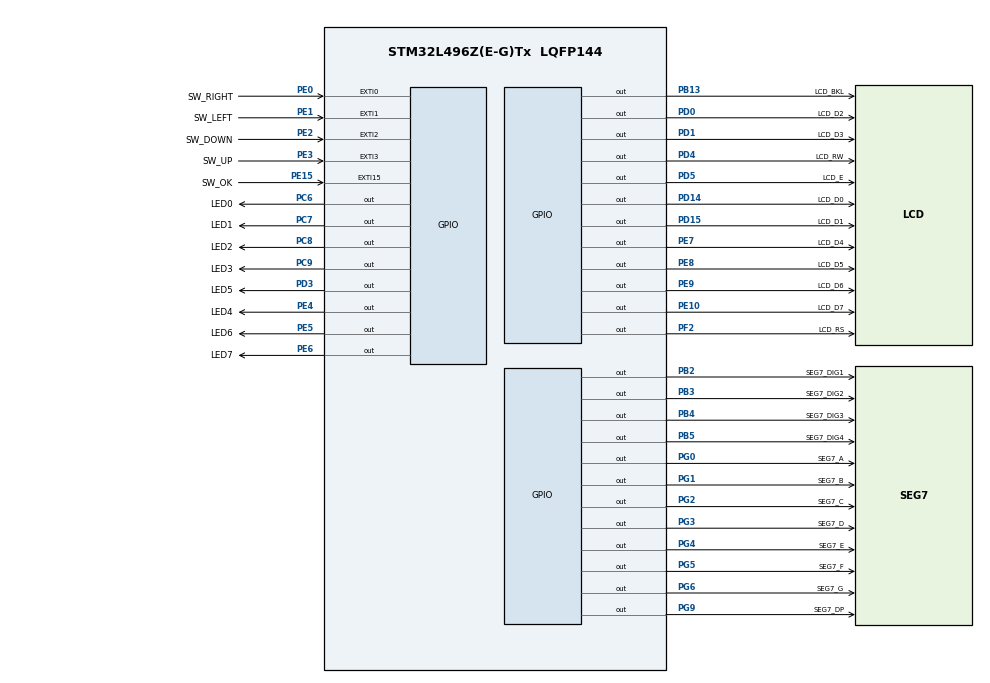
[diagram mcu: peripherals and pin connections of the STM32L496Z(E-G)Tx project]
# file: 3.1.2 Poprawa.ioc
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Mcu.Family=STM32L4
Mcu.Name=STM32L496Z(E-G)Tx
Mcu.Package=LQFP144
NVIC.EXTI0_IRQn=true\:0\:0\:false\:false\:true\:true\:true
NVIC.EXTI15_10_IRQn=true\:0\:0\:false\:false\:true\:true\:true
NVIC.EXTI1_IRQn=true\:0\:0\:false\:false\:true\:true\:true
NVIC.EXTI2_IRQn=true\:0\:0\:false\:false\:true\:true\:true
NVIC.EXTI3_IRQn=true\:0\:0\:false\:false\:true\:true\:true
NVIC.PriorityGroup=NVIC_PRIORITYGROUP_4
PA13\ (JTMS/SWDIO).Mode=Serial_Wire
PA13\ (JTMS/SWDIO).Signal=SYS_JTMS-SWDIO
PA14\ (JTCK/SWCLK).Mode=Serial_Wire
PA14\ (JTCK/SWCLK).Signal=SYS_JTCK-SWCLK
PB13.GPIO_Label=LCD_BKL
PB13.Signal=GPIO_Output
PB2.GPIO_Label=SEG7_DIG1
PB2.Signal=GPIO_Output
PB3\ (JTDO/TRACESWO).GPIO_Label=SEG7_DIG2
PB3\ (JTDO/TRACESWO).Signal=GPIO_Output
PB4\ (NJTRST).GPIO_Label=SEG7_DIG3
PB4\ (NJTRST).Signal=GPIO_Output
PB5.GPIO_Label=SEG7_DIG4
PB5.Signal=GPIO_Output
PC6.GPIO_Label=LED0
PC6.Signal=GPIO_Output
PC7.GPIO_Label=LED1
PC7.Signal=GPIO_Output
PC8.GPIO_Label=LED2
PC8.Signal=GPIO_Output
PC9.GPIO_Label=LED3
PC9.Signal=GPIO_Output
PD0.GPIO_Label=LCD_D2
PD0.Signal=GPIO_Output
PD1.GPIO_Label=LCD_D3
PD1.Signal=GPIO_Output
PD14.GPIO_Label=LCD_D0
PD14.Signal=GPIO_Output
PD15.GPIO_Label=LCD_D1
PD15.Signal=GPIO_Output
PD3.GPIO_Label=LED5
PD3.Signal=GPIO_Output
PD4.GPIO_Label=LCD_RW
PD4.Signal=GPIO_Output
PD5.GPIO_Label=LCD_E
PD5.Signal=GPIO_Output
PE0.GPIO_Label=SW_RIGHT
PE0.GPIO_ModeDefaultEXTI=GPIO_MODE_IT_FALLING
PE0.Signal=GPXTI0
PE1.GPIO_Label=SW_LEFT
PE1.GPIO_ModeDefaultEXTI=GPIO_MODE_IT_FALLING
PE1.Signal=GPXTI1
PE10.GPIO_Label=LCD_D7
PE10.Signal=GPIO_Output
PE15.GPIO_Label=SW_OK
PE15.GPIO_ModeDefaultEXTI=GPIO_MODE_IT_FALLING
PE15.Signal=GPXTI15
PE2.GPIO_Label=SW_DOWN
PE2.GPIO_ModeDefaultEXTI=GPIO_MODE_IT_FALLING
PE2.Signal=GPXTI2
PE3.GPIO_Label=SW_UP
PE3.GPIO_ModeDefaultEXTI=GPIO_MODE_IT_FALLING
PE3.Signal=GPXTI3
PE4.GPIO_Label=LED4
PE4.Signal=GPIO_Output
PE5.GPIO_Label=LED6
PE5.Signal=GPIO_Output
PE6.GPIO_Label=LED7
PE6.Signal=GPIO_Output
PE7.GPIO_Label=LCD_D4
PE7.Signal=GPIO_Output
PE8.GPIO_Label=LCD_D5
PE8.Signal=GPIO_Output
PE9.GPIO_Label=LCD_D6
PE9.Signal=GPIO_Output
PF2.GPIO_Label=LCD_RS
PF2.Signal=GPIO_Output
PG0.GPIO_Label=SEG7_A
PG0.Signal=GPIO_Output
PG1.GPIO_Label=SEG7_B
PG1.Signal=GPIO_Output
PG2.GPIO_Label=SEG7_C
PG2.Signal=GPIO_Output
PG3.GPIO_Label=SEG7_D
PG3.Signal=GPIO_Output
PG4.GPIO_Label=SEG7_E
PG4.Signal=GPIO_Output
PG5.GPIO_Label=SEG7_F
PG5.Signal=GPIO_Output
PG6.GPIO_Label=SEG7_G
PG6.Signal=GPIO_Output
PG9.GPIO_Label=SEG7_DP
PG9.Signal=GPIO_Output
ProjectManager.HeapSize=0x200
ProjectManager.StackSize=0x400
ProjectManager.TargetToolchain=STM32CubeIDE
RCC.HSE_VALUE=8000000
RCC.HSI48_VALUE=48000000
RCC.HSI_VALUE=16000000
RCC.LSE_VALUE=32768
RCC.MSI_VALUE=4000000
RCC.VCOOutputFreq_Value=32000000
board=custom

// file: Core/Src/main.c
/* USER CODE BEGIN Header */
/**
 ******************************************************************************
 * @file           : main.c
 * @brief          : Main program body
 ******************************************************************************
 * @attention
 *
 * <h2><center>&copy; Copyright (c) 2021 STMicroelectronics.
 * All rights reserved.</center></h2>
 *
 * This software component is licensed by ST under BSD 3-Clause license,
 * the "License"; You may not use this file except in compliance with the
 * License. You may obtain a copy of the License at:
 *                        opensource.org/licenses/BSD-3-Clause
 *
 ******************************************************************************
 */
/* USER CODE END Header */
#include "main.h"
#include "gpio.h"

/* USER CODE BEGIN Includes */
#include "lcd.h"
#include <stdio.h>
#include <string.h>
/* USER CODE END Includes */

/* USER CODE BEGIN PD */
#define SEG7_Msk (SEG7_A_Pin | SEG7_B_Pin | SEG7_C_Pin | SEG7_D_Pin | SEG7_E_Pin | SEG7_F_Pin | SEG7_G_Pin | SEG7_DP_Pin)
#define SEG7_MOD_Msk (SEG7_DIG4_Pin | SEG7_DIG3_Pin | SEG7_DIG2_Pin | SEG7_DIG1_Pin)

/* USER CODE END PD */

/* USER CODE BEGIN PV */
const uint8_t SEG_Bin2Dec[] = {
SEG7_A_Pin | SEG7_B_Pin | SEG7_C_Pin | SEG7_D_Pin | SEG7_E_Pin | SEG7_F_Pin, //0
		SEG7_B_Pin | SEG7_C_Pin, //1
		SEG7_A_Pin | SEG7_B_Pin | SEG7_D_Pin | SEG7_E_Pin | SEG7_G_Pin, //2
		SEG7_A_Pin | SEG7_B_Pin | SEG7_C_Pin | SEG7_D_Pin | SEG7_G_Pin, //3
		SEG7_B_Pin | SEG7_C_Pin | SEG7_F_Pin | SEG7_G_Pin, //4
		SEG7_A_Pin | SEG7_C_Pin | SEG7_D_Pin | SEG7_F_Pin | SEG7_G_Pin, //5
		SEG7_A_Pin | SEG7_C_Pin | SEG7_D_Pin | SEG7_E_Pin | SEG7_F_Pin
				| SEG7_G_Pin, //6
		SEG7_A_Pin | SEG7_B_Pin | SEG7_C_Pin, //7
		SEG7_A_Pin | SEG7_B_Pin | SEG7_C_Pin | SEG7_D_Pin | SEG7_E_Pin
				| SEG7_F_Pin | SEG7_G_Pin, //8
		SEG7_A_Pin | SEG7_B_Pin | SEG7_C_Pin | SEG7_D_Pin | SEG7_F_Pin
				| SEG7_G_Pin, //9
		SEG7_G_Pin };
const uint16_t SEG_Module[] = { SEG7_DIG4_Pin, SEG7_DIG3_Pin, SEG7_DIG2_Pin,
		SEG7_DIG1_Pin };
/* USER CODE END PV */

void SystemClock_Config(void);

/* USER CODE BEGIN 0 */
void SEG_SetSegment(uint8_t value) {
	value &= 0x0F;
	HAL_GPIO_WritePin(GPIOG, SEG7_Msk, GPIO_PIN_RESET);
	HAL_GPIO_WritePin(GPIOG, SEG_Bin2Dec[value], GPIO_PIN_SET);
}

void SEG_SetModule(uint8_t module) {
	module &= 0x03;
	HAL_GPIO_WritePin(GPIOB, SEG7_MOD_Msk, GPIO_PIN_RESET);
	HAL_GPIO_WritePin(GPIOB, SEG_Module[module], GPIO_PIN_SET);
}

#define SEG_RefreshPeriodMs (2)

uint8_t SEG_Value[] = { 0, 0, 0, 0 };

void SEG_Mux(void) {
	static uint32_t module = 0;

	if (SEG_Value[3] == 0 && SEG_Value[2] == 0 && SEG_Value[1] == 0)
		module = 0;
	else if (SEG_Value[3] == 0 && SEG_Value[2] == 0) {
		module %= 2;

	} else if (SEG_Value[3] == 0) {
		module %= 3;

	}

	SEG_SetSegment(SEG_Value[module]);
	SEG_SetModule(module++);

	module &= 0x03;
}

void HAL_SYSTICK_Callback(void) {
	static uint16_t SEG_Delay = 0;
	if ((++SEG_Delay) == SEG_RefreshPeriodMs) {
		SEG_Mux();
		SEG_Delay = 0;
	}
}

void SEG_DisplayDec(int16_t value) {
	if ((value < 0) && (value > -1000)) {
		value = -value;
		if (SEG_Value[3] == 0 && SEG_Value[2] == 0 && SEG_Value[1] == 0) {
			SEG_SetModule(1);
			SEG_SetSegment(10);
		} else if (SEG_Value[3] == 0 && SEG_Value[2] == 0) {
			SEG_SetModule(2);
			SEG_SetSegment(10);
		} else if (SEG_Value[3] == 0) {
			SEG_SetModule(3);
			SEG_SetSegment(10);
		}
	}

	if ((value >= 0) && (value < 10000)) {
		SEG_Value[0] = (value % 10);
		value /= 10;
		SEG_Value[1] = value ? (value % 10) : 0;
		value /= 10;
		SEG_Value[2] = value ? (value % 10) : 0;
		value /= 10;
		SEG_Value[3] = value ? (value % 10) : 0;
	}

}
/* USER CODE END 0 */

int main(void) {

	/* MCU Configuration--------------------------------------------------------*/

	/* Reset of all peripherals, Initializes the Flash interface and the Systick. */
	HAL_Init();

	/* Configure the system clock */
	SystemClock_Config();

	/* Initialize all configured peripherals */
	MX_GPIO_Init();
	/* USER CODE BEGIN 2 */
	LCD_Init();
	LCD_BacklightOn();
	/* USER CODE END 2 */

	/* Infinite loop */
	/* USER CODE BEGIN WHILE */

	while (1) {
		SEG_SetModule(0);
		for (int i = -1050; i < 1000; i++) {
			if (i < 0) { //ustawiamy wartosc znaku w zaleznosci od tego czy mamy liczbe dodatnia czy ujemna

				SEG_DisplayDec(i);
				HAL_Delay(20);
			} else{
				SEG_DisplayDec(i);
				HAL_Delay(10);
			}
			}

		/* USER CODE END WHILE */

	}
}

void SystemClock_Config(void) {
	RCC_OscInitTypeDef RCC_OscInitStruct = { 0 };
	RCC_ClkInitTypeDef RCC_ClkInitStruct = { 0 };

	/** Configure the main internal regulator output voltage
	 */
	if (HAL_PWREx_ControlVoltageScaling(PWR_REGULATOR_VOLTAGE_SCALE1)
			!= HAL_OK) {
		Error_Handler();
	}
	/** Initializes the RCC Oscillators according to the specified parameters
	 * in the RCC_OscInitTypeDef structure.
	 */
	RCC_OscInitStruct.OscillatorType = RCC_OSCILLATORTYPE_MSI;
	RCC_OscInitStruct.MSIState = RCC_MSI_ON;
	RCC_OscInitStruct.MSICalibrationValue = 0;
	RCC_OscInitStruct.MSIClockRange = RCC_MSIRANGE_6;
	RCC_OscInitStruct.PLL.PLLState = RCC_PLL_NONE;
	if (HAL_RCC_OscConfig(&RCC_OscInitStruct) != HAL_OK) {
		Error_Handler();
	}
	/** Initializes the CPU, AHB and APB buses clocks
	 */
	RCC_ClkInitStruct.ClockType = RCC_CLOCKTYPE_HCLK | RCC_CLOCKTYPE_SYSCLK
			| RCC_CLOCKTYPE_PCLK1 | RCC_CLOCKTYPE_PCLK2;
	RCC_ClkInitStruct.SYSCLKSource = RCC_SYSCLKSOURCE_MSI;
	RCC_ClkInitStruct.AHBCLKDivider = RCC_SYSCLK_DIV1;
	RCC_ClkInitStruct.APB1CLKDivider = RCC_HCLK_DIV1;
	RCC_ClkInitStruct.APB2CLKDivider = RCC_HCLK_DIV1;

	if (HAL_RCC_ClockConfig(&RCC_ClkInitStruct, FLASH_LATENCY_0) != HAL_OK) {
		Error_Handler();
	}
}

void Error_Handler(void) {
	__disable_irq();
	while (1) {
	}
}

/************************ (C) COPYRIGHT STMicroelectronics *****END OF FILE****/
